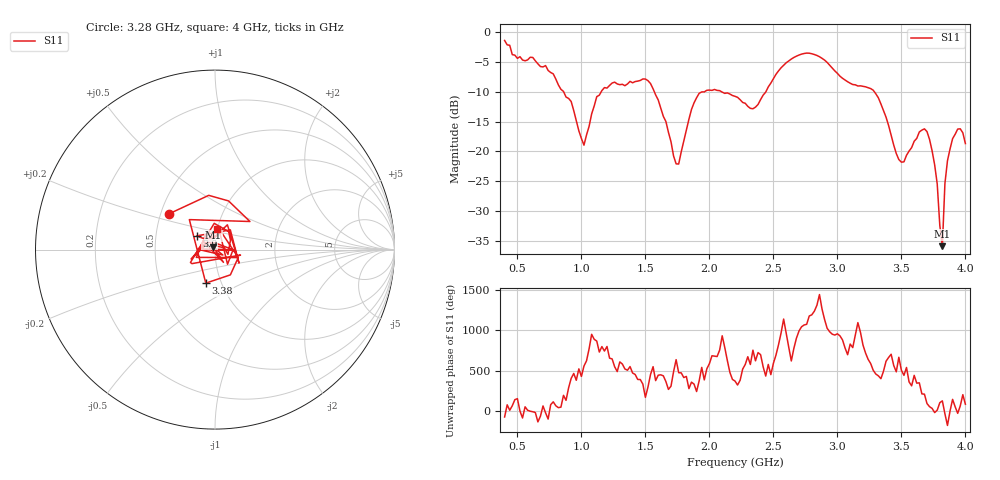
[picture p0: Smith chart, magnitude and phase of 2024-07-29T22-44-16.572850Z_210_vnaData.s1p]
!Created with skrf (http://scikit-rf.org).
# Hz S RI R 50.0
!freq ReS11 ImS11
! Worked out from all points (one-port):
!   181 points, 400 MHz to 4 GHz, reference 50 ohm
!   lowest |S11| = -35.9 dB at 3.82 GHz (marker M1), VSWR 1.03, Z = 49.1 + j1.28 ohm
!   |S11| at or under -10 dB: 1.57 GHz to 1.961 GHz (391.4 MHz wide, 22.2 % of centre); 2.095 GHz to 2.441 GHz (346 MHz wide, 15.3 % of centre); 3.289 GHz to end of sweep (the widest 3 of 4)
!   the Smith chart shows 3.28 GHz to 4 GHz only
!   S11 on the Smith chart (normalised r, x): 3.28 GHz: 0.55, +0.24; 3.38 GHz: 0.84, -0.33; 3.9 GHz: 0.81, +0.13; 4 GHz: 1.00, +0.23
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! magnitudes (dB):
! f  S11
! 400 MHz  -1.4
! 720 MHz  -5.6
! 860 MHz  -9.9
! 920 MHz  -11.6
! 1.02 GHz  -19.0
! 1.12 GHz  -10.8
! 1.3 GHz  -8.8
! 1.54 GHz  -8.6
! 1.76 GHz  -22.1
! 1.86 GHz  -13.0
! 1.92 GHz  -10.3
! 2.2 GHz  -10.8
! 2.36 GHz  -12.6
! 2.66 GHz  -4.2
! 2.84 GHz  -3.9
! 3.1 GHz  -8.6
! 3.28 GHz  -9.7
! 3.38 GHz  -14.3
! 3.48 GHz  -21.4
! 3.56 GHz  -20.0
! 3.7 GHz  -16.7
! 3.78 GHz  -25.5
! 3.8 GHz  -32.4
! 3.82 GHz  -35.9
! 3.84 GHz  -25.4
! 3.9 GHz  -17.9
! 3.96 GHz  -16.2
! 4 GHz  -18.7
